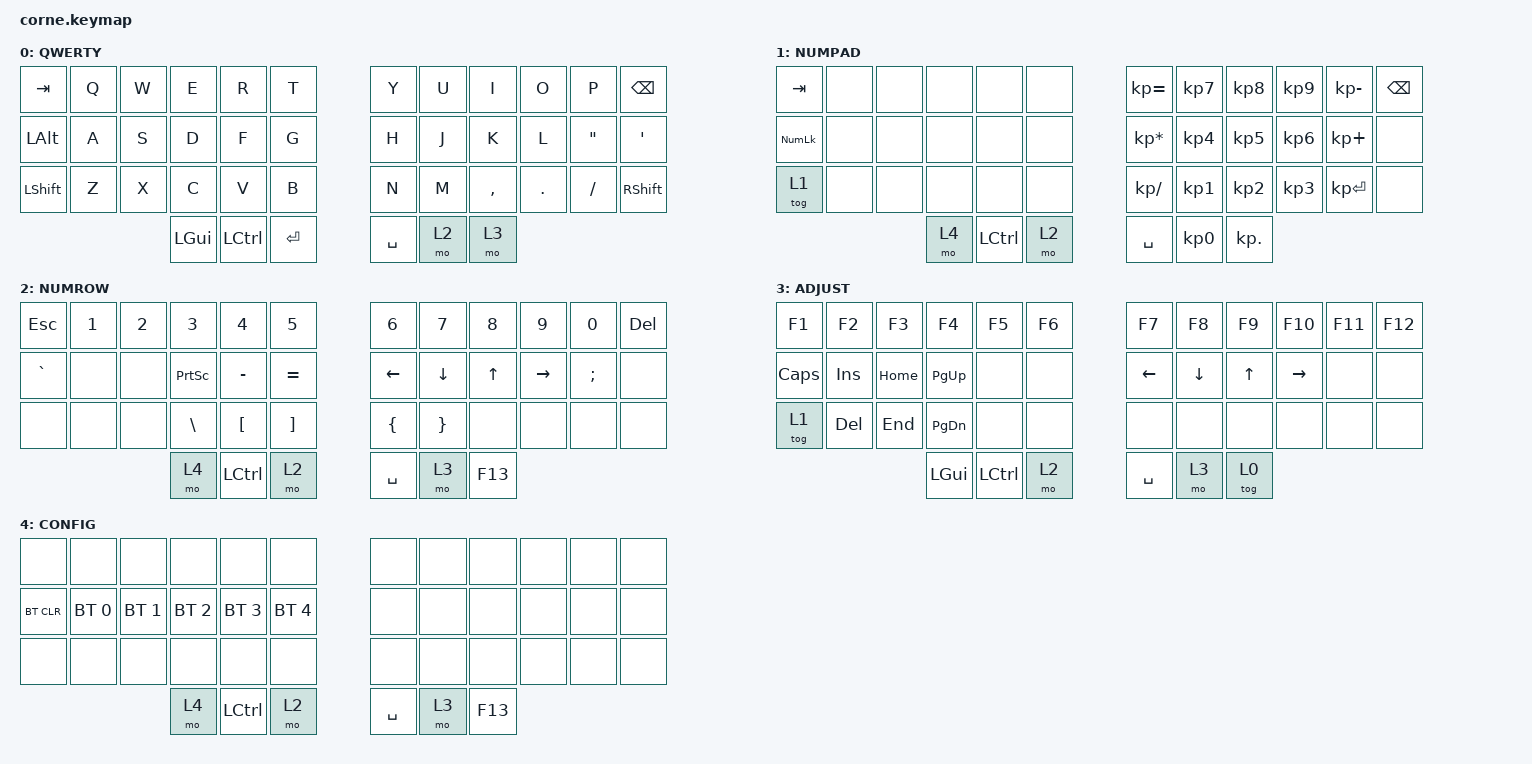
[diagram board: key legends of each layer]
/*
*
* Copyright (c) 2021 lowprokb.ca
* SPDX-License-Identifier: MIT
*
*/

#include <behaviors.dtsi>
#include <dt-bindings/zmk/bt.h>
#include <dt-bindings/zmk/keys.h>

#define QWERTY 0
#define GAMING 1
#define NUMPAD 2
#define NUMROW 3
#define ADJUST 4
#define CONFIG 5

/ {
    keymap {
        compatible = "zmk,keymap";

        default_layer {
            label = "QWERTY";
            bindings = <
&kp TAB    &kp Q  &kp W  &kp E     &kp R      &kp T        &kp Y      &kp U  &kp I      &kp O    &kp P              &kp BACKSPACE
&kp LALT   &kp A  &kp S  &kp D     &kp F      &kp G        &kp H      &kp J  &kp K      &kp L    &kp DOUBLE_QUOTES  &kp SINGLE_QUOTE
&kp LSHFT  &kp Z  &kp X  &kp C     &kp V      &kp B        &kp N      &kp M  &kp COMMA  &kp DOT  &kp FSLH           &kp RSHFT
                         &kp LGUI  &kp LCTRL  &kp ENTER    &kp SPACE  &mo 2  &mo 3
            >;
        };

        numpad_layer {
            label = "NUMPAD";
            bindings = <
&kp TAB      &none  &none  &none  &none      &none    &kp KP_EQUAL     &kp KP_N7  &kp KP_N8   &kp KP_N9  &kp KP_MINUS  &kp BSPC
&kp KP_NLCK  &none  &none  &none  &none      &none    &kp KP_ASTERISK  &kp KP_N4  &kp KP_N5   &kp KP_N6  &kp KP_PLUS   &none
&tog 1       &none  &none  &none  &none      &none    &kp KP_SLASH     &kp KP_N1  &kp KP_N2   &kp KP_N3  &kp KP_ENTER  &none
                           &mo 4  &kp LCTRL  &mo 2    &kp SPACE        &kp KP_N0  &kp KP_DOT
            >;
        };

        numrow_layer {
            label = "NUMROW";
            bindings = <
&kp ESC    &kp N1  &kp N2  &kp N3     &kp N4     &kp N5       &kp N6          &kp N7           &kp N8   &kp N9     &kp N0    &kp DEL
&kp GRAVE  &none   &none   &kp PSCRN  &kp MINUS  &kp EQUAL    &kp LEFT        &kp DOWN         &kp UP   &kp RIGHT  &kp SEMI  &none
&none      &none   &none   &kp BSLH   &kp LBKT   &kp RBKT     &kp LEFT_BRACE  &kp RIGHT_BRACE  &none    &none      &none     &none
                           &mo 4      &kp LCTRL  &mo 2        &kp SPACE       &mo 3            &kp F13
            >;
        };

        adjust_layer {
            label = "ADJUST";
            bindings = <
&kp F1    &kp F2   &kp F3    &kp F4     &kp F5     &kp F6    &kp F7     &kp F8    &kp F9  &kp F10    &kp F11  &kp F12
&kp CAPS  &kp INS  &kp HOME  &kp PG_UP  &none      &none     &kp LEFT   &kp DOWN  &kp UP  &kp RIGHT  &none    &none
&tog 1    &kp DEL  &kp END   &kp PG_DN  &none      &none     &none      &none     &none   &none      &none    &none
                             &kp LGUI   &kp LCTRL  &mo 2     &kp SPACE  &mo 3     &tog 0
            >;
        };

        config_layer {
            label = "CONFIG";
            bindings = <
&none       &none         &none         &none         &none         &none           &none      &none  &none    &none  &none  &none
&bt BT_CLR  &bt BT_SEL 0  &bt BT_SEL 1  &bt BT_SEL 2  &bt BT_SEL 3  &bt BT_SEL 4    &none      &none  &none    &none  &none  &none
&none       &none         &none         &none         &none         &none           &none      &none  &none    &none  &none  &none
                                        &mo 4         &kp LCTRL     &mo 2           &kp SPACE  &mo 3  &kp F13
            >;
        };
    };
};
